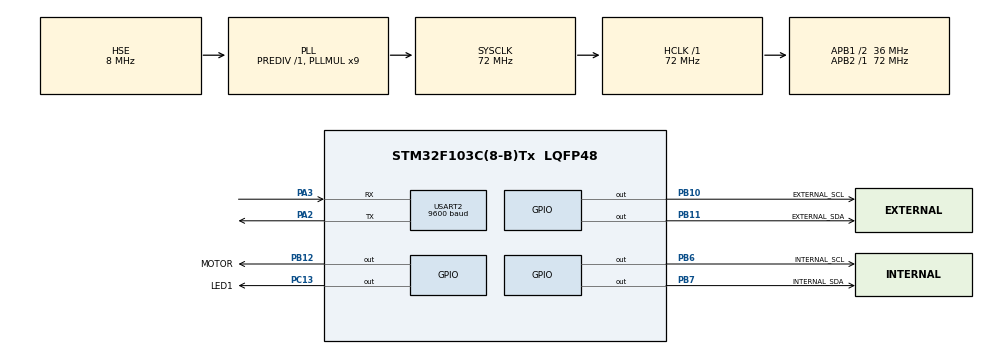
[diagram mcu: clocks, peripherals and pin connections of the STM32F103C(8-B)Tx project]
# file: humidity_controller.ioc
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Mcu.Family=STM32F1
Mcu.Name=STM32F103C(8-B)Tx
Mcu.Package=LQFP48
NVIC.PriorityGroup=NVIC_PRIORITYGROUP_4
PA13.Mode=Serial_Wire
PA13.Signal=SYS_JTMS-SWDIO
PA14.Mode=Serial_Wire
PA14.Signal=SYS_JTCK-SWCLK
PA2.Mode=Asynchronous
PA2.Signal=USART2_TX
PA3.Mode=Asynchronous
PA3.Signal=USART2_RX
PB10.GPIO_Label=EXTERNAL_SCL
PB10.GPIO_ModeDefaultOutputPP=GPIO_MODE_OUTPUT_OD
PB10.GPIO_PuPd=GPIO_PULLUP
PB10.GPIO_Speed=GPIO_SPEED_FREQ_HIGH
PB10.PinState=GPIO_PIN_SET
PB10.Signal=GPIO_Output
PB11.GPIO_Label=EXTERNAL_SDA
PB11.GPIO_ModeDefaultOutputPP=GPIO_MODE_OUTPUT_OD
PB11.GPIO_PuPd=GPIO_PULLUP
PB11.GPIO_Speed=GPIO_SPEED_FREQ_HIGH
PB11.PinState=GPIO_PIN_SET
PB11.Signal=GPIO_Output
PB12.GPIO_Label=MOTOR
PB12.GPIO_Speed=GPIO_SPEED_FREQ_LOW
PB12.Signal=GPIO_Output
PB6.GPIO_Label=INTERNAL_SCL
PB6.GPIO_ModeDefaultOutputPP=GPIO_MODE_OUTPUT_OD
PB6.GPIO_PuPd=GPIO_PULLUP
PB6.GPIO_Speed=GPIO_SPEED_FREQ_HIGH
PB6.PinState=GPIO_PIN_SET
PB6.Signal=GPIO_Output
PB7.GPIO_Label=INTERNAL_SDA
PB7.GPIO_ModeDefaultOutputPP=GPIO_MODE_OUTPUT_OD
PB7.GPIO_PuPd=GPIO_PULLUP
PB7.GPIO_Speed=GPIO_SPEED_FREQ_HIGH
PB7.PinState=GPIO_PIN_SET
PB7.Signal=GPIO_Output
PC13-TAMPER-RTC.GPIO_Label=LED1
PC13-TAMPER-RTC.GPIO_ModeDefaultOutputPP=GPIO_MODE_OUTPUT_PP
PC13-TAMPER-RTC.GPIO_PuPd=GPIO_NOPULL
PC13-TAMPER-RTC.GPIO_Speed=GPIO_SPEED_FREQ_LOW
PC13-TAMPER-RTC.PinState=GPIO_PIN_SET
PC13-TAMPER-RTC.Signal=GPIO_Output
PD0-OSC_IN.Mode=HSE-External-Oscillator
PD0-OSC_IN.Signal=RCC_OSC_IN
PD1-OSC_OUT.Mode=HSE-External-Oscillator
PD1-OSC_OUT.Signal=RCC_OSC_OUT
ProjectManager.HeapSize=0x200
ProjectManager.StackSize=0x400
ProjectManager.TargetToolchain=STM32CubeIDE
RCC.AHBFreq_Value=72000000
RCC.APB1CLKDivider=RCC_HCLK_DIV2
RCC.APB1Freq_Value=36000000
RCC.APB1TimFreq_Value=72000000
RCC.APB2Freq_Value=72000000
RCC.APB2TimFreq_Value=72000000
RCC.HCLKFreq_Value=72000000
RCC.PLLMUL=RCC_PLL_MUL9
RCC.PLLSourceVirtual=RCC_PLLSOURCE_HSE
RCC.SYSCLKFreq_VALUE=72000000
RCC.SYSCLKSource=RCC_SYSCLKSOURCE_PLLCLK
RCC.USBFreq_Value=72000000
USART2.BaudRate=9600
USART2.VirtualMode=VM_ASYNC
board=custom

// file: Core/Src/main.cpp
/* USER CODE BEGIN Header */
/**
 ******************************************************************************
 * @file           : main.c
 * @brief          : Main program body
 ******************************************************************************
 * @attention
 *
 * <h2><center>&copy; Copyright (c) 2020 STMicroelectronics.
 * All rights reserved.</center></h2>
 *
 * This software component is licensed by ST under BSD 3-Clause license,
 * the "License"; You may not use this file except in compliance with the
 * License. You may obtain a copy of the License at:
 *                        opensource.org/licenses/BSD-3-Clause
 *
 ******************************************************************************
 */
/* USER CODE END Header */
#include "main.h"

/* USER CODE BEGIN Includes */
#include "json.h"
#include "programI2C.h"
/* USER CODE END Includes */

UART_HandleTypeDef huart2;

/* USER CODE BEGIN PV */
float sum_internalAbsoluteHumidity = 0;
float sum_externalAbsoluteHumidity = 0;
float averageInternalAbsoluteHumidity = 0;
float averageExternalAbsoluteHumidity = 0;

uint8_t averageCounter = 0;

I2C internalI2C = I2C(INTERNAL_SCL_Pin, INTERNAL_SDA_Pin, INTERNAL_SDA_GPIO_Port);
I2C externalI2C = I2C(EXTERNAL_SCL_Pin, EXTERNAL_SDA_Pin, EXTERNAL_SDA_GPIO_Port);
Si7021 internalSensor = Si7021(&internalI2C);
Si7021 externalSensor = Si7021(&externalI2C);
uint8_t message[100] = {};
/* USER CODE END PV */

void SystemClock_Config(void);
static void MX_GPIO_Init(void);
static void MX_USART2_UART_Init(void);
/* USER CODE BEGIN PFP */
void reset_sum(void);
float calculationAbsH(float, float);
void CheckON(void);
void initLcd(void);
uint8_t numberToString(float number, uint8_t *strArray, uint8_t fractionalNumber);
uint8_t createJsonString(float iH, float iT, float eH, float eT, uint8_t motor, uint8_t *strArray);
void sendBluetoothMessage(Si7021 internalSensor, Si7021 externalSensor);
/* USER CODE END PFP */

int main(void)
{

	/* MCU Configuration--------------------------------------------------------*/

	/* Reset of all peripherals, Initializes the Flash interface and the Systick. */
	HAL_Init();

	/* Configure the system clock */
	SystemClock_Config();

	/* Initialize all configured peripherals */
	MX_GPIO_Init();
	MX_USART2_UART_Init();

	/* Infinite loop */
	/* USER CODE BEGIN WHILE */
	while (1) {

#ifdef DEBUG
		HAL_UART_Transmit(&huart2, (uint8_t*)"1) ***** start *****\r\n", (sizeof "1) ***** start *****\r\n") - 1, 100);
#endif

		internalSensor.measureTemperatureAndHumidity();
		externalSensor.measureTemperatureAndHumidity();

#ifdef DEBUG
		if (!externalSensor.measuredSuccessful) {
			HAL_UART_Transmit(&huart2, (uint8_t*)"external sensor FAIL\r\n", (sizeof "external sensor FAIL\r\n") - 1, 100);
		}
		if (!internalSensor.measuredSuccessful) {
			HAL_UART_Transmit(&huart2, (uint8_t*)"internal sensor FAIL\r\n", (sizeof "internal sensor FAIL\r\n") - 1, 100);
		}
#endif

		if (
				internalSensor.measuredSuccessful
				&&
				externalSensor.measuredSuccessful
		) {
			// all measuring are successful

#ifdef DEBUG
			HAL_UART_Transmit(&huart2, (uint8_t*)"2) sensors have been read\r\n", (sizeof "2) sensors have been read\r\n") - 1, 100);
#endif

			if (averageCounter < NUM_SAMPLES) {

#ifdef DEBUG
				HAL_UART_Transmit(&huart2, (uint8_t*)"3) summation to calculate averages\r\n", (sizeof "3) summation to calculate averages\r\n") - 1, 100);
#endif

				// add the measured values for averaging
				sum_internalAbsoluteHumidity += internalSensor.getAbsoluteHumidity();
				sum_externalAbsoluteHumidity += externalSensor.getAbsoluteHumidity();
				averageCounter++;
			}

			if (averageCounter >= NUM_SAMPLES) {

#ifdef DEBUG
				HAL_UART_Transmit(&huart2, (uint8_t*)"4) calculating average\r\n", (sizeof "4) calculating average\r\n") - 1, 100);
#endif
				// calculate the average values
				averageInternalAbsoluteHumidity = sum_internalAbsoluteHumidity / (float)NUM_SAMPLES;
				averageExternalAbsoluteHumidity = sum_externalAbsoluteHumidity / (float)NUM_SAMPLES;

				CheckON(); // Проверка статуса вентилятора
				reset_sum();
			}
		} else {
			// some mistake happens during measuring
#ifdef DEBUG
			HAL_UART_Transmit(&huart2, (uint8_t*)"ERROR\r\n", (sizeof "ERROR\r\n") - 1, 100);
#endif
			motorStop();
			reset_sum();
		}
		sendBluetoothMessage(internalSensor, externalSensor);
		HAL_Delay(TIME_SCAN_SENSOR);
		/* USER CODE END WHILE */

	}
}

void SystemClock_Config(void)
{
	RCC_OscInitTypeDef RCC_OscInitStruct = {0};
	RCC_ClkInitTypeDef RCC_ClkInitStruct = {0};

	/** Initializes the RCC Oscillators according to the specified parameters
	 * in the RCC_OscInitTypeDef structure.
	 */
	RCC_OscInitStruct.OscillatorType = RCC_OSCILLATORTYPE_HSE;
	RCC_OscInitStruct.HSEState = RCC_HSE_ON;
	RCC_OscInitStruct.HSEPredivValue = RCC_HSE_PREDIV_DIV1;
	RCC_OscInitStruct.HSIState = RCC_HSI_ON;
	RCC_OscInitStruct.PLL.PLLState = RCC_PLL_ON;
	RCC_OscInitStruct.PLL.PLLSource = RCC_PLLSOURCE_HSE;
	RCC_OscInitStruct.PLL.PLLMUL = RCC_PLL_MUL9;
	if (HAL_RCC_OscConfig(&RCC_OscInitStruct) != HAL_OK)
	{
		Error_Handler();
	}
	/** Initializes the CPU, AHB and APB buses clocks
	 */
	RCC_ClkInitStruct.ClockType = RCC_CLOCKTYPE_HCLK|RCC_CLOCKTYPE_SYSCLK
			|RCC_CLOCKTYPE_PCLK1|RCC_CLOCKTYPE_PCLK2;
	RCC_ClkInitStruct.SYSCLKSource = RCC_SYSCLKSOURCE_PLLCLK;
	RCC_ClkInitStruct.AHBCLKDivider = RCC_SYSCLK_DIV1;
	RCC_ClkInitStruct.APB1CLKDivider = RCC_HCLK_DIV2;
	RCC_ClkInitStruct.APB2CLKDivider = RCC_HCLK_DIV1;

	if (HAL_RCC_ClockConfig(&RCC_ClkInitStruct, FLASH_LATENCY_2) != HAL_OK)
	{
		Error_Handler();
	}
}

static void MX_USART2_UART_Init(void)
{

	huart2.Instance = USART2;
	huart2.Init.BaudRate = 9600;
	huart2.Init.WordLength = UART_WORDLENGTH_8B;
	huart2.Init.StopBits = UART_STOPBITS_1;
	huart2.Init.Parity = UART_PARITY_NONE;
	huart2.Init.Mode = UART_MODE_TX_RX;
	huart2.Init.HwFlowCtl = UART_HWCONTROL_NONE;
	huart2.Init.OverSampling = UART_OVERSAMPLING_16;
	if (HAL_UART_Init(&huart2) != HAL_OK)
	{
		Error_Handler();
	}

}

static void MX_GPIO_Init(void)
{
	GPIO_InitTypeDef GPIO_InitStruct = {0};

	/* GPIO Ports Clock Enable */
	__HAL_RCC_GPIOC_CLK_ENABLE();
	__HAL_RCC_GPIOD_CLK_ENABLE();
	__HAL_RCC_GPIOA_CLK_ENABLE();
	__HAL_RCC_GPIOB_CLK_ENABLE();

	/*Configure GPIO pin Output Level */
	HAL_GPIO_WritePin(LED1_GPIO_Port, LED1_Pin, GPIO_PIN_SET);

	/*Configure GPIO pin Output Level */
	HAL_GPIO_WritePin(GPIOB, EXTERNAL_SCL_Pin|EXTERNAL_SDA_Pin|INTERNAL_SCL_Pin|INTERNAL_SDA_Pin, GPIO_PIN_SET);

	/*Configure GPIO pin Output Level */
	HAL_GPIO_WritePin(MOTOR_GPIO_Port, MOTOR_Pin, GPIO_PIN_RESET);

	/*Configure GPIO pin : LED1_Pin */
	GPIO_InitStruct.Pin = LED1_Pin;
	GPIO_InitStruct.Mode = GPIO_MODE_OUTPUT_PP;
	GPIO_InitStruct.Pull = GPIO_NOPULL;
	GPIO_InitStruct.Speed = GPIO_SPEED_FREQ_LOW;
	HAL_GPIO_Init(LED1_GPIO_Port, &GPIO_InitStruct);

	/*Configure GPIO pins : EXTERNAL_SCL_Pin EXTERNAL_SDA_Pin INTERNAL_SCL_Pin INTERNAL_SDA_Pin */
	GPIO_InitStruct.Pin = EXTERNAL_SCL_Pin|EXTERNAL_SDA_Pin|INTERNAL_SCL_Pin|INTERNAL_SDA_Pin;
	GPIO_InitStruct.Mode = GPIO_MODE_OUTPUT_OD;
	GPIO_InitStruct.Pull = GPIO_PULLUP;
	GPIO_InitStruct.Speed = GPIO_SPEED_FREQ_HIGH;
	HAL_GPIO_Init(GPIOB, &GPIO_InitStruct);

	/*Configure GPIO pin : MOTOR_Pin */
	GPIO_InitStruct.Pin = MOTOR_Pin;
	GPIO_InitStruct.Mode = GPIO_MODE_OUTPUT_PP;
	GPIO_InitStruct.Pull = GPIO_NOPULL;
	GPIO_InitStruct.Speed = GPIO_SPEED_FREQ_LOW;
	HAL_GPIO_Init(MOTOR_GPIO_Port, &GPIO_InitStruct);

}

/* USER CODE BEGIN 4 */
void reset_sum(void)  // Сброс счетчиков накоплений
{
	averageCounter = 0;
	sum_internalAbsoluteHumidity = 0;
	sum_externalAbsoluteHumidity = 0;
}

float calculationAbsH(float t, float h) {
	float temp;
	temp = pow(2.718281828, (17.67 * t) / (t + 243.5));
	return (6.112 * temp * h * 2.1674) / (273.15 + t);
}

void CheckON(void) {
	if (HAL_GPIO_ReadPin(MOTOR_GPIO_Port, MOTOR_Pin) == GPIO_PIN_RESET) {
		// Вентилятор выключен
		if ((averageInternalAbsoluteHumidity - d_HUMIDITY)
				> averageExternalAbsoluteHumidity) {
			motorStart();

		}
	} else {
		// Вентилятор включен
		if (averageInternalAbsoluteHumidity < averageExternalAbsoluteHumidity) {
			motorStop();
		}
	}
}
void sendBluetoothMessage(Si7021 internalSensor, Si7021 externalSensor) {
	uint8_t motor = 0;
	if(HAL_GPIO_ReadPin(MOTOR_GPIO_Port, MOTOR_Pin) == GPIO_PIN_SET) {
		motor = 1;
	}
	uint8_t messageLength = JSON::createJsonString(internalSensor, externalSensor, motor, &message[0]);

	HAL_UART_Transmit(&huart2, (uint8_t*)message, messageLength, 100);
	HAL_UART_Transmit(&huart2, (uint8_t*)"\r\n", 2, 100);
}
/* USER CODE END 4 */

void Error_Handler(void)
{
}

/************************ (C) COPYRIGHT STMicroelectronics *****END OF FILE****/
